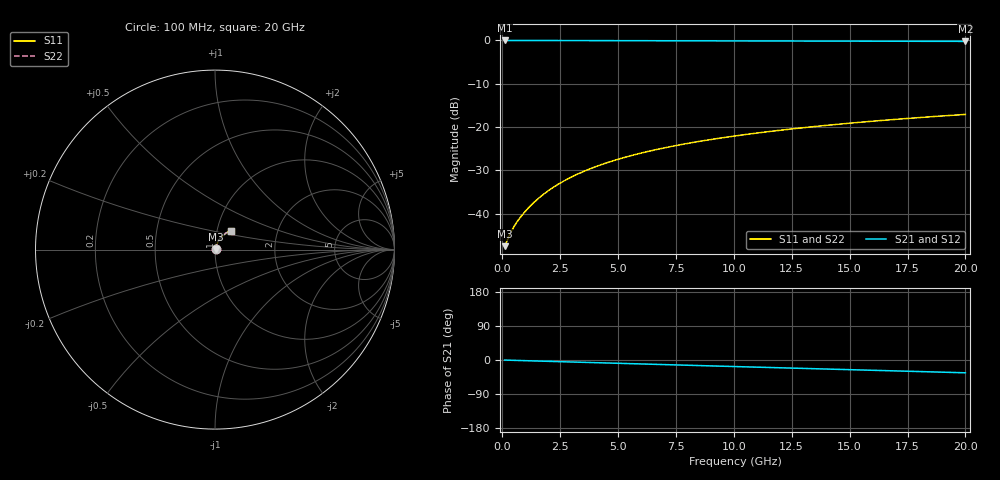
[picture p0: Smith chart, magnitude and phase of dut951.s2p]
! Touchstone file exported from HFSS 2026.1.0
!  File:  C:/ffzhzh/LocalFiles/Ansys_Project_Files/temp_train_TMRDL_951_1783158686_55132.aedt
!  Generated:  05:52:36 PM Jul  4, 2026
!  Design:  TMRDL
!  Project:  temp_train_TMRDL_951_1783158686_55132
! Variables:
!  h_bsmrdl = 2um
!  h_ox = 20um
!  h_rdl = 5um
!  h_sub = 80um
!  h_tmrdl = 4.05um
!  h_tsv = 80um
!  h_via = 3um
!  l_bsmrdl = 300um
!  l_sub = 995.31um
!  l_tmrdl = 595.31um
!  m_sub = 200um
!  pitch = 19.83um
!  r_tsv = 6um
!  s_tmrdl = 10um
!  w_bsmrdl = 18um
!  w_sub = 500um
!  w_tmrdl = 13.24um
!  x_tsv_center1 = 601.93um
!  x_tsv_center2 = 919.93um
!  x_tsv_center3 = 1528.48um
!  x_tsv_center4 = 1846.48um
!  x_tsv_center5 = 2455.03um
!  x_tsv_center6 = 2773.03um
# GHz S MA R 50.000000
! Terminal data exported
! Port[1] = TM_RDL1_1_T1
! Port[2] = TM_RDL1_1_T2
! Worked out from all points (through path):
!   200 points, 100 MHz to 20 GHz, reference 50 ohm
!   highest |S21| = -0.04 dB at 100 MHz (marker M1); lowest = -0.2 dB at 20 GHz (marker M2)
!   group delay of S21, straight-line fit = 4.67 ps
!   lowest |S11| = -47.5 dB at 100 MHz (marker M3), VSWR 1.01, Z = 50.4 + j0.12 ohm
!   |S11| at or under -10 dB: start of sweep to end of sweep
!   |S22| runs from -47.5 to -17.1 dB; largest |S21 - S12| = 2.3e-15
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0.1  0.004223 16.4  0.996 -0.2  0.996 -0.2  0.004223 16.4
! Gamma 0 0 0 0
! Port Impedance 50 0 50 0
0.3  0.005575 36.1  0.9955 -0.6  0.9955 -0.6  0.005576 36.1
0.4  0.00633 41.4  0.9953 -0.8  0.9953 -0.8  0.006331 41.4
0.6  0.007791 48.6  0.995 -1.1  0.995 -1.1  0.007793 48.6
0.9  0.009962 55.9  0.9946 -1.6  0.9946 -1.6  0.009964 55.9
1.1  0.01145 59.3  0.9945 -2.0  0.9945 -2.0  0.01145 59.3
1.3  0.01297 62.0  0.9943 -2.3  0.9943 -2.3  0.01298 62.0
1.5  0.01453 64.1  0.9942 -2.7  0.9942 -2.7  0.01453 64.1
1.8  0.01691 66.3  0.994 -3.2  0.994 -3.2  0.01691 66.3
2.3  0.02093 68.6  0.9936 -4.1  0.9936 -4.1  0.02093 68.6
2.9  0.02579 70.0  0.9931 -5.1  0.9931 -5.1  0.02579 70.0
3.5  0.03063 70.4  0.9925 -6.2  0.9925 -6.2  0.03063 70.4
4.2  0.03621 70.3  0.9917 -7.4  0.9917 -7.4  0.03621 70.3
5  0.04247 69.8  0.9907 -8.8  0.9907 -8.8  0.04247 69.8
5.9  0.04934 68.9  0.9895 -10.3  0.9895 -10.3  0.04934 68.9
6.8  0.05603 67.8  0.9883 -11.8  0.9883 -11.8  0.05603 67.8
8.3  0.06681 65.8  0.9863 -14.4  0.9863 -14.4  0.06681 65.8
10.1  0.07921 63.3  0.984 -17.4  0.984 -17.4  0.07922 63.2
11.7  0.08982 61.0  0.9819 -20.1  0.9819 -20.1  0.08984 61.0
13.4  0.1007 58.6  0.9798 -22.9  0.9798 -22.9  0.1007 58.5
16.7  0.1209 53.8  0.9758 -28.4  0.9758 -28.4  0.1209 53.7
20  0.1397 48.9  0.9719 -33.8  0.9719 -33.8  0.1397 48.9
